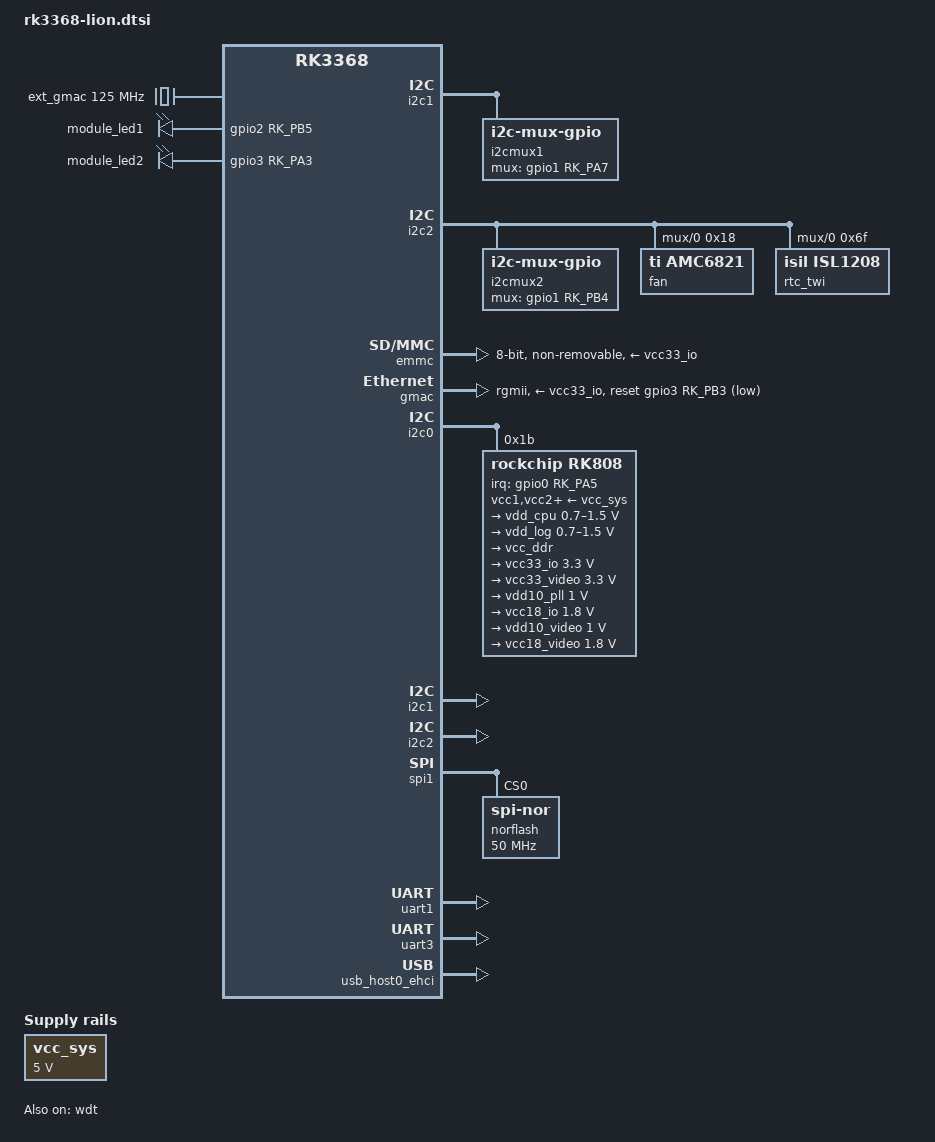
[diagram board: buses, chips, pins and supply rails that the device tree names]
// SPDX-License-Identifier: (GPL-2.0+ OR MIT)
/*
 * Copyright (c) 2018 Theobroma Systems Design und Consulting GmbH
 */

/dts-v1/;
#include "rk3368.dtsi"

/ {
	chosen {
		stdout-path = "serial0:115200n8";
	};

	ext_gmac: gmac-clk {
		compatible = "fixed-clock";
		clock-frequency = <125000000>;
		clock-output-names = "ext_gmac";
		#clock-cells = <0>;
	};

	i2cmux1 {
		compatible = "i2c-mux-gpio";
		#address-cells = <1>;
		#size-cells = <0>;
		i2c-parent = <&i2c1>;
		mux-gpios = <&gpio1 RK_PA7 GPIO_ACTIVE_HIGH>;

		/* Q7_GPO_I2C */
		i2c@0 {
			reg = <0>;
			#address-cells = <1>;
			#size-cells = <0>;
		};

		/* Q7_SMB */
		i2c@1 {
			reg = <1>;
			#address-cells = <1>;
			#size-cells = <0>;
		};
	};

	i2cmux2 {
		compatible = "i2c-mux-gpio";
		#address-cells = <1>;
		#size-cells = <0>;
		i2c-parent = <&i2c2>;
		mux-gpios = <&gpio1 RK_PB4 GPIO_ACTIVE_HIGH>;

		/* Q7_LVDS_BLC_I2C */
		i2c@0 {
			reg = <0>;
			#address-cells = <1>;
			#size-cells = <0>;

			fan: fan@18 {
				compatible = "ti,amc6821";
				reg = <0x18>;
				#cooling-cells = <2>;
			};

			rtc_twi: rtc@6f {
				compatible = "isil,isl1208";
				reg = <0x6f>;
			};
		};

		/* Q7_GP2_I2C */
		i2c@1 {
			reg = <1>;
			#address-cells = <1>;
			#size-cells = <0>;
		};
	};

	leds {
		compatible = "gpio-leds";
		pinctrl-names = "default";
		pinctrl-0 = <&led_pins_module>;

		module_led1 {
			label = "module_led1";
			gpios = <&gpio2 RK_PB5 GPIO_ACTIVE_HIGH>;
			linux,default-trigger = "heartbeat";
			panic-indicator;
		};

		module_led2 {
			label = "module_led2";
			gpios = <&gpio3 RK_PA3 GPIO_ACTIVE_HIGH>;
			default-state = "off";
		};
	};

	vcc_sys: vcc-sys-regulator {
		compatible = "regulator-fixed";
		regulator-name = "vcc_sys";
		regulator-min-microvolt = <5000000>;
		regulator-max-microvolt = <5000000>;
		regulator-always-on;
		regulator-boot-on;
	};
};

&cpu_l0 {
	cpu-supply = <&vdd_cpu>;
};

&cpu_l1 {
	cpu-supply = <&vdd_cpu>;
};

&cpu_l2 {
	cpu-supply = <&vdd_cpu>;
};

&cpu_l3 {
	cpu-supply = <&vdd_cpu>;
};

&cpu_b0 {
	cpu-supply = <&vdd_cpu>;
};

&cpu_b1 {
	cpu-supply = <&vdd_cpu>;
};

&cpu_b2 {
	cpu-supply = <&vdd_cpu>;
};

&cpu_b3 {
	cpu-supply = <&vdd_cpu>;
};

&emmc {
	bus-width = <8>;
	clock-frequency = <150000000>;
	mmc-hs200-1_8v;
	non-removable;
	vmmc-supply = <&vcc33_io>;
	vqmmc-supply = <&vcc18_io>;
	pinctrl-names = "default";
	pinctrl-0 = <&emmc_clk>, <&emmc_cmd>, <&emmc_bus8>;
	status = "okay";
};

&gmac {
	assigned-clocks = <&cru SCLK_MAC>;
	assigned-clock-parents = <&ext_gmac>;
	clock_in_out = "input";
	phy-supply = <&vcc33_io>;
	phy-mode = "rgmii";
	pinctrl-names = "default";
	pinctrl-0 = <&rgmii_pins>;
	snps,reset-active-low;
	snps,reset-delays-us = <0 10000 50000>;
	snps,reset-gpio = <&gpio3 RK_PB3 GPIO_ACTIVE_HIGH>;
	tx_delay = <0x10>;
	rx_delay = <0x10>;
	status = "okay";
};

&i2c0 {
	status = "okay";

	rk808: pmic@1b {
		compatible = "rockchip,rk808";
		reg = <0x1b>;
		interrupt-parent = <&gpio0>;
		interrupts = <RK_PA5 IRQ_TYPE_LEVEL_LOW>;
		clock-output-names = "xin32k", "rk808-clkout2";
		#clock-cells = <1>;
		pinctrl-names = "default";
		pinctrl-0 = <&pmic_int_l>, <&pmic_sleep>;
		rockchip,system-power-controller;
		vcc1-supply = <&vcc_sys>;
		vcc2-supply = <&vcc_sys>;
		vcc3-supply = <&vcc_sys>;
		vcc4-supply = <&vcc_sys>;
		vcc6-supply = <&vcc_sys>;
		vcc7-supply = <&vcc_sys>;
		vcc8-supply = <&vcc_sys>;
		vcc9-supply = <&vcc_sys>;
		vcc10-supply = <&vcc_sys>;
		vcc11-supply = <&vcc_sys>;
		vcc12-supply = <&vcc_sys>;

		regulators {
			vdd_cpu: DCDC_REG1 {
				regulator-name = "vdd_cpu";
				regulator-min-microvolt = <700000>;
				regulator-max-microvolt = <1500000>;
				regulator-always-on;
				regulator-boot-on;
			};

			vdd_log: DCDC_REG2 {
				regulator-name = "vdd_log";
				regulator-min-microvolt = <700000>;
				regulator-max-microvolt = <1500000>;
				regulator-always-on;
				regulator-boot-on;
			};

			vcc_ddr: DCDC_REG3 {
				regulator-name = "vcc_ddr";
				regulator-always-on;
				regulator-boot-on;
			};

			vcc33_io: DCDC_REG4 {
				regulator-name = "vcc33_io";
				regulator-min-microvolt = <3300000>;
				regulator-max-microvolt = <3300000>;
				regulator-always-on;
				regulator-boot-on;
			};

			vcc33_video: LDO_REG2 {
				regulator-name = "vcc33_video";
				regulator-min-microvolt = <3300000>;
				regulator-max-microvolt = <3300000>;
				regulator-always-on;
				regulator-boot-on;
			};

			vdd10_pll: LDO_REG3 {
				regulator-name = "vdd10_pll";
				regulator-min-microvolt = <1000000>;
				regulator-max-microvolt = <1000000>;
				regulator-always-on;
				regulator-boot-on;
			};

			vcc18_io: LDO_REG4 {
				regulator-name = "vcc18_io";
				regulator-min-microvolt = <1800000>;
				regulator-max-microvolt = <1800000>;
				regulator-boot-on;
			};

			vdd10_video: LDO_REG6 {
				regulator-name = "vdd10_video";
				regulator-min-microvolt = <1000000>;
				regulator-max-microvolt = <1000000>;
				regulator-always-on;
				regulator-boot-on;
			};

			vcc18_video: LDO_REG8 {
				regulator-name = "vcc18_video";
				regulator-min-microvolt = <1800000>;
				regulator-max-microvolt = <1800000>;
				regulator-always-on;
				regulator-boot-on;
			};
		};
	};
};

&i2c1 {
	status = "okay";
};

&i2c2 {
	status = "okay";
};

&pinctrl {
	leds {
		led_pins_module: led-module-gpio {
			rockchip,pins =
				<2 RK_PB5 RK_FUNC_GPIO &pcfg_pull_none>,
				<3 RK_PA3 RK_FUNC_GPIO &pcfg_pull_none>;
		};
	};
	pmic {
		pmic_int_l: pmic-int-l {
			rockchip,pins = <0 RK_PA5 RK_FUNC_GPIO &pcfg_pull_up>;
		};

		pmic_sleep: pmic-sleep {
			rockchip,pins = <0 RK_PA0 2 &pcfg_pull_none>;
		};
	};
};

&spi1 {
	status = "okay";

	norflash: flash@0 {
		compatible = "jedec,spi-nor";
		reg = <0>;
		spi-max-frequency = <50000000>;
	};
};

&uart1 {
	status = "okay";
};

&uart3 {
	status = "okay";
};

&usb_host0_ehci {
	status = "okay";
};

&wdt {
	status = "okay";
};
